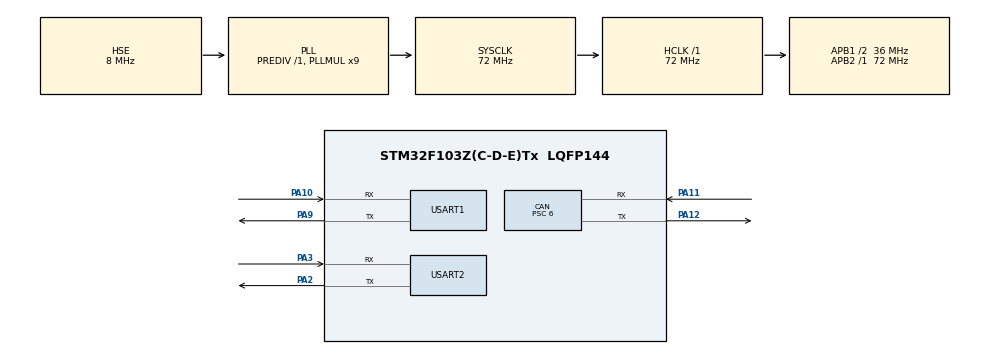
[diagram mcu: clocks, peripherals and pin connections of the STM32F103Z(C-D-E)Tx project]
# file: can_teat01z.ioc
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CAN.BS1=CAN_BS1_9TQ
CAN.BS2=CAN_BS2_2TQ
CAN.CalculateBaudRate=499999
CAN.CalculateTimeBit=2000
CAN.CalculateTimeQuantum=166.66666666666669
CAN.Prescaler=6
FREERTOS.Mutexes01=UsartMutex,Dynamic,NULL,Available
FREERTOS.Queues01=CommandQueue,64,uint8_t,0,Dynamic,NULL,NULL;CanTxQueue,64,uint8_t,0,Dynamic,NULL,NULL
FREERTOS.Tasks01=CommandTask,40,256,StartCommandTask,Default,NULL,Dynamic,NULL,NULL;CanTxTask,24,256,StartCanTxTask,Default,NULL,Dynamic,NULL,NULL
FREERTOS.configTOTAL_HEAP_SIZE=8192
Mcu.Family=STM32F1
Mcu.Name=STM32F103Z(C-D-E)Tx
Mcu.Package=LQFP144
NVIC.PriorityGroup=NVIC_PRIORITYGROUP_4
NVIC.TIM7_IRQn=true\:15\:0\:false\:false\:true\:false\:false\:true\:true
NVIC.TimeBase=TIM7_IRQn
NVIC.TimeBaseIP=TIM7
NVIC.USART2_IRQn=true\:5\:0\:false\:false\:true\:true\:true\:true\:true
OSC_IN.Mode=HSE-External-Oscillator
OSC_IN.Signal=RCC_OSC_IN
OSC_OUT.Mode=HSE-External-Oscillator
OSC_OUT.Signal=RCC_OSC_OUT
PA10.Mode=Asynchronous
PA10.Signal=USART1_RX
PA11.Mode=CAN_Activate
PA11.Signal=CAN_RX
PA12.Mode=CAN_Activate
PA12.Signal=CAN_TX
PA13.Mode=Serial_Wire
PA13.Signal=SYS_JTMS-SWDIO
PA14.Mode=Serial_Wire
PA14.Signal=SYS_JTCK-SWCLK
PA2.Mode=Asynchronous
PA2.Signal=USART2_TX
PA3.Mode=Asynchronous
PA3.Signal=USART2_RX
PA9.Mode=Asynchronous
PA9.Signal=USART1_TX
ProjectManager.HeapSize=0x200
ProjectManager.StackSize=0x400
ProjectManager.TargetToolchain=MDK-ARM V5.32
RCC.AHBFreq_Value=72000000
RCC.APB1CLKDivider=RCC_HCLK_DIV2
RCC.APB1Freq_Value=36000000
RCC.APB1TimFreq_Value=72000000
RCC.APB2Freq_Value=72000000
RCC.APB2TimFreq_Value=72000000
RCC.HCLKFreq_Value=72000000
RCC.PLLMUL=RCC_PLL_MUL9
RCC.PLLSourceVirtual=RCC_PLLSOURCE_HSE
RCC.SYSCLKFreq_VALUE=72000000
RCC.SYSCLKSource=RCC_SYSCLKSOURCE_PLLCLK
RCC.USBFreq_Value=72000000
USART1.VirtualMode=VM_ASYNC
USART2.VirtualMode=VM_ASYNC
VP_FREERTOS_VS_CMSIS_V2.Mode=CMSIS_V2
VP_SYS_VS_tim7.Mode=TIM7
board=custom

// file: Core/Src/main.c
/* USER CODE BEGIN Header */
/**
  ******************************************************************************
  * @file           : main.c
  * @project        : STM32F103ZET6 汽车方向盘/车辆状态模拟 CAN 发送节点 (can_formalz_Send)
  * @brief          : 串口2 (USART2) 控制指令防错位解析与 CAN1 (0x0B4) 车载矩阵报文广播
  *
  * ================================================================
  * 【文件结构与通信协议规范】：
  *   1. 硬件外设分配：
  *      - USART2 (PA2/PA3, 115200)：接收上位机/方向盘模拟器发来的 8 字节控制指令
  *      - USART1 (PA9/PA10, 115200)：printf 调试监控回显 ([CAN TX OK] Sub-ID...)
  *      - CAN1   (PA11/PA12, 500kbps)：挂载在 36MHz APB1，向仪表 ECU 广播 0x0B4 帧
  *
  *   2. 8 字节串口/CAN 报文矩阵 (CAN ID = 0x0B4，帧头 Byte0 固定为 0xAF)：
  *      - 0xAF 0x01 [RPM] [Speed] 0 0 0 0  — 同时控制转速 (×100 RPM) 与车速 (km/h)
  *      - 0xAF 0x02 [0/1] 0 0 0 0 0        — 控制水温报警指示灯 (1=红灯报警, 0=绿灯正常)
  *      - 0xAF 0x03 [0/1] 0 0 0 0 0        — 控制安全带指示灯   (1=未系红灯, 0=已系绿灯)
  *      - 0xAF 0x04 [0/1/2] 0 0 0 0 0      — 控制车灯指示灯     (1=近光黄, 2=远光红, 0=绿)
  *      - 0xAF 0x05 [0/1] 0 0 0 0 0        — 控制左转向灯       (1=开启绿, 0=关闭暗灰)
  *      - 0xAF 0x06 0x14 [Year] [Mon] [Day]— 远程校准仪表 RTC 日期 (如 0x1A=26年)
  *      - 0xAF 0x07 [Hour] [Min] [Sec] 0 0 — 远程校准仪表 RTC 时间
  * ================================================================
  ******************************************************************************
  */
/* USER CODE END Header */
#include "main.h"
#include "cmsis_os.h"
#include "can.h"
#include "usart.h"
#include "gpio.h"

/* USER CODE BEGIN Includes */
#include <stdio.h>
#include "headfile.h"
typedef struct{
	uint8_t rx_buf[12];
	uint8_t rx_cnt;
} UART_RX_typedef;
/* USER CODE END Includes */

/* USER CODE BEGIN PD */
//#define UART_TEST_ONLY  0
//#define UART_TEST_USE_HSI  0

/* USER CODE END PD */

/* USER CODE BEGIN PV */
// ★ 串口 2 单字节中断接收缓存与帧组装结构体
uint8_t uart2_rx_byte = 0;
UART_RX_typedef uart2_rx = {0};
extern osMessageQueueId_t CommandQueueHandle;
/* USER CODE END PV */

void SystemClock_Config(void);
void MX_FREERTOS_Init(void);

int main(void)
{

  /* MCU Configuration--------------------------------------------------------*/

  /* Reset of all peripherals, Initializes the Flash interface and the Systick. */
  HAL_Init();

  /* Configure the system clock */
  SystemClock_Config();

  /* Initialize all configured peripherals */
  MX_GPIO_Init();
  MX_CAN_Init();
  MX_USART1_UART_Init();
  MX_USART2_UART_Init();
  /* USER CODE BEGIN 2 */
  // ------- 1. 开启 USART2 单字节接收中断与 CAN1 滤波器 -------
  HAL_UART_Receive_IT(&huart2, &uart2_rx_byte, 1);
  can_filter_init();
  /* USER CODE END 2 */

  /* Init scheduler */
  osKernelInitialize();  /* Call init function for freertos objects (in cmsis_os2.c) */
  MX_FREERTOS_Init();

  /* Start scheduler */
  osKernelStart();

  /* We should never get here as control is now taken by the scheduler */

  /* Infinite loop */
  while (1)
  {

  }
}

void SystemClock_Config(void)
{
  RCC_OscInitTypeDef RCC_OscInitStruct = {0};
  RCC_ClkInitTypeDef RCC_ClkInitStruct = {0};

  /** Initializes the RCC Oscillators according to the specified parameters
  * in the RCC_OscInitTypeDef structure.
  */
  RCC_OscInitStruct.OscillatorType = RCC_OSCILLATORTYPE_HSE;
  RCC_OscInitStruct.HSEState = RCC_HSE_ON;
  RCC_OscInitStruct.HSEPredivValue = RCC_HSE_PREDIV_DIV1;
  RCC_OscInitStruct.HSIState = RCC_HSI_ON;
  RCC_OscInitStruct.PLL.PLLState = RCC_PLL_ON;
  RCC_OscInitStruct.PLL.PLLSource = RCC_PLLSOURCE_HSE;
  RCC_OscInitStruct.PLL.PLLMUL = RCC_PLL_MUL9;
  if (HAL_RCC_OscConfig(&RCC_OscInitStruct) != HAL_OK)
  {
    Error_Handler();
  }

  /** Initializes the CPU, AHB and APB buses clocks
  */
  RCC_ClkInitStruct.ClockType = RCC_CLOCKTYPE_HCLK|RCC_CLOCKTYPE_SYSCLK
                              |RCC_CLOCKTYPE_PCLK1|RCC_CLOCKTYPE_PCLK2;
  RCC_ClkInitStruct.SYSCLKSource = RCC_SYSCLKSOURCE_PLLCLK;
  RCC_ClkInitStruct.AHBCLKDivider = RCC_SYSCLK_DIV1;
  RCC_ClkInitStruct.APB1CLKDivider = RCC_HCLK_DIV2;
  RCC_ClkInitStruct.APB2CLKDivider = RCC_HCLK_DIV1;

  if (HAL_RCC_ClockConfig(&RCC_ClkInitStruct, FLASH_LATENCY_2) != HAL_OK)
  {
    Error_Handler();
  }
}

/* USER CODE BEGIN 4 */
// ================================================================
// USART2 接收中断回调：8 字节定长帧组装 + 0xAF 帧头防错位对齐 + CAN 0x0B4 转发
// ================================================================
void HAL_UART_RxCpltCallback(UART_HandleTypeDef *huart)
{
	if(huart->Instance ==USART2)
	{
		// 1. 将收到的 1 字节立即塞入 CommandQueue 队列（中断中 timeout 必须填 0！）
		osMessageQueuePut(CommandQueueHandle, &uart2_rx_byte, 0, 0);
		// 2. 立即重新开启下一次 1 字节接收中断
		HAL_UART_Receive_IT(&huart2, &uart2_rx_byte, 1);
	}
}

int fputc(int ch, FILE *f)
{
  HAL_UART_Transmit(&huart1, (uint8_t *)&ch, 1, 0xFFFF);
  return ch;
}
/* USER CODE END 4 */

void HAL_TIM_PeriodElapsedCallback(TIM_HandleTypeDef *htim)
{
  if (htim->Instance == TIM7)
  {
    HAL_IncTick();
  }
}

void Error_Handler(void)
{
  __disable_irq();
  while (1)
  {
  }
}

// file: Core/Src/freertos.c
/* USER CODE BEGIN Header */
/**
  ******************************************************************************
  * File Name          : freertos.c
  * Description        : Code for freertos applications
  ******************************************************************************
  * @attention
  *
  * Copyright (c) 2026 STMicroelectronics.
  * All rights reserved.
  *
  * This software is licensed under terms that can be found in the LICENSE file
  * in the root directory of this software component.
  * If no LICENSE file comes with this software, it is provided AS-IS.
  *
  ******************************************************************************
  */
/* USER CODE END Header */

#include "FreeRTOS.h"
#include "task.h"
#include "main.h"
#include "cmsis_os.h"

/* USER CODE BEGIN Includes */
#include "stdio.h"
#include "headfile.h"

/* USER CODE END Includes */

/* Definitions for CommandTask */
osThreadId_t CommandTaskHandle;
const osThreadAttr_t CommandTask_attributes = {
  .name = "CommandTask",
  .stack_size = 256 * 4,
  .priority = (osPriority_t) osPriorityHigh,
};
/* Definitions for CanTxTask */
osThreadId_t CanTxTaskHandle;
const osThreadAttr_t CanTxTask_attributes = {
  .name = "CanTxTask",
  .stack_size = 256 * 4,
  .priority = (osPriority_t) osPriorityNormal,
};
/* Definitions for CommandQueue */
osMessageQueueId_t CommandQueueHandle;
const osMessageQueueAttr_t CommandQueue_attributes = {
  .name = "CommandQueue"
};
/* Definitions for CanTxQueue */
osMessageQueueId_t CanTxQueueHandle;
const osMessageQueueAttr_t CanTxQueue_attributes = {
  .name = "CanTxQueue"
};
/* Definitions for UsartMutex */
osMutexId_t UsartMutexHandle;
const osMutexAttr_t UsartMutex_attributes = {
  .name = "UsartMutex"
};

/* USER CODE BEGIN FunctionPrototypes */
// ★ 车规级 E2E CRC8 计算函数 (SAE J1850 标准：多项式 0x1D，初值 0xFF，结果异或 0xFF)
static uint8_t e2e_calc_crc8(const uint8_t *data, uint8_t len)
{
  uint8_t crc = 0xFFU;
  for (uint8_t i = 0U; i < len; i++)
  {
    crc ^= data[i];
    for (uint8_t bit = 0U; bit < 8U; bit++)
    {
      if ((crc & 0x80U) != 0U)
        crc = (uint8_t)((crc << 1U) ^ 0x1DU);
      else
        crc <<= 1U;
    }
  }
  return (uint8_t)(crc ^ 0xFFU);
}
/* USER CODE END FunctionPrototypes */

void StartCommandTask(void *argument);
void StartCanTxTask(void *argument);

void MX_FREERTOS_Init(void); /* (MISRA C 2004 rule 8.1) */

void MX_FREERTOS_Init(void) {
  /* Create the mutex(es) */
  /* creation of UsartMutex */
  UsartMutexHandle = osMutexNew(&UsartMutex_attributes);

  /* Create the queue(s) */
  /* creation of CommandQueue */
  CommandQueueHandle = osMessageQueueNew (64, sizeof(uint8_t), &CommandQueue_attributes);

  /* creation of CanTxQueue */
  CanTxQueueHandle = osMessageQueueNew (64, sizeof(uint8_t), &CanTxQueue_attributes);

  /* Create the thread(s) */
  /* creation of CommandTask */
  CommandTaskHandle = osThreadNew(StartCommandTask, NULL, &CommandTask_attributes);

  /* creation of CanTxTask */
  CanTxTaskHandle = osThreadNew(StartCanTxTask, NULL, &CanTxTask_attributes);

}

void StartCommandTask(void *argument)
{
  /* USER CODE BEGIN StartCommandTask */
	uint8_t rx_byte = 0;
	uint8_t rx_buf[8] = {0};
	uint8_t rx_cnt = 0;
  /* Infinite loop */
  for(;;)
  {
	  osMessageQueueGet(CommandQueueHandle, &rx_byte, NULL, osWaitForever);
	  rx_buf[rx_cnt] = rx_byte;
	  rx_cnt++;
	  if(rx_buf[0]!=0xAF)
	  {
		  rx_cnt=0;
	  }
	  else if(rx_cnt>=8)
	  {
		  if(rx_buf[1]>=0x01&&rx_buf[1]<=0x07)
		  {
			  for(uint8_t i=0;i<8;i++)
			  {
				  osMessageQueuePut(CanTxQueueHandle, &rx_buf[i], 0, 0);
			  }
		  }
		  else
		  {
		osMutexAcquire(UsartMutexHandle, osWaitForever);
        printf("[Error] Invalid Sub-ID: 0x%02X\r\n", rx_buf[1]);
        osMutexRelease(UsartMutexHandle);
      }
		  rx_cnt=0;

	  }

  }
  /* USER CODE END StartCommandTask */
}

void StartCanTxTask(void *argument)
{
  /* USER CODE BEGIN StartCanTxTask */
  uint8_t tx_byte = 0;
  uint8_t tx_buf[8] = {0};
  uint8_t tx_cnt = 0;
  uint8_t rolling_cnt = 0; // ★ E2E Rolling Counter (0 ~ 15 循环递增)
  /* Infinite loop */
  for(;;)
  {
    osMessageQueueGet(CanTxQueueHandle, &tx_byte, NULL, osWaitForever);
    tx_buf[tx_cnt] = tx_byte;
    tx_cnt++;
    if(tx_cnt>=8)
    {
      // ★ E2E 数据保护封装：Byte6 填入 0~15 滚动计数器，Byte7 填入前 7 字节的 SAE J1850 CRC8
      tx_buf[6] = rolling_cnt & 0x0FU;
      rolling_cnt = (rolling_cnt + 1U) & 0x0FU;
      tx_buf[7] = e2e_calc_crc8(tx_buf, 7U);

      osMutexAcquire(UsartMutexHandle, osWaitForever); // 借串口锁
      // ★★★ 这里调用你的 CAN 发射函数！★★★
      can_send_message(0x0B4, 8, tx_buf);
      // 串口 1 打印发送成功回显 (含 E2E Counter 与 CRC8)
      printf("[CAN TX OK] Sub-ID: 0x%02X, Cnt: %u, CRC8: 0x%02X, Data: ",
             tx_buf[1], tx_buf[6], tx_buf[7]);
      for (uint8_t i = 0; i < 8; i++)
      {
        printf("%02X ", tx_buf[i]);
      }
      printf("\r\n");
      osMutexRelease(UsartMutexHandle); // 还串口锁
      tx_cnt = 0; // 清零计数，等下一帧
    }
  }
  /* USER CODE END StartCanTxTask */
}
